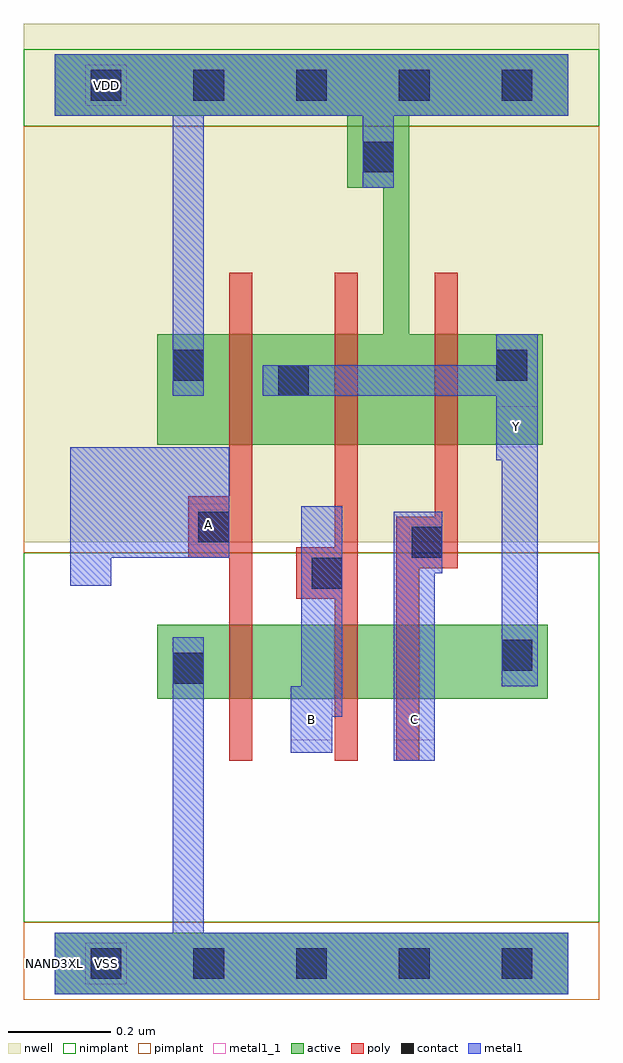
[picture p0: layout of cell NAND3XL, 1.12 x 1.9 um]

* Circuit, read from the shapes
.subckt NAND3XL A B C VDD VSS Y
M1 n1 A VSS VSS nfet w=0.145u l=0.045u
M2 n2 B n1 VSS nfet w=0.145u l=0.045u
M3 Y C n2 VSS nfet w=0.145u l=0.045u
M4 Y A VDD VDD pfet w=0.215u l=0.045u
M5 VDD B Y VDD pfet w=0.215u l=0.045u
M6 Y C VDD VDD pfet w=0.215u l=0.045u
.ends

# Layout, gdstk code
import gdstk
lib = gdstk.Library(unit=1e-6, precision=5e-10)
def R(c, l, rs):  # rectangles x0, y0, x1, y1
    for r in rs: c.add(gdstk.rectangle(r[:2], r[2:], *l))
def A(c, l, x, y, w, h, nx, ny, dx, dy):  # array of equal rectangles
    R(c, l, [(x+i*dx, y+j*dy, x+i*dx+w, y+j*dy+h) for i in range(nx) for j in range(ny)])
def P(c, l, *ps):  # polygons
    for p in ps: c.add(gdstk.Polygon(p, *l))
active = (1, 0)
nwell = (2, 0)
poly = (3, 0)
nimplant = (4, 0)
pimplant = (5, 0)
contact = (6, 0)
metal1 = (7, 0)
metal1_1 = (7, 1)

nand3xl = lib.new_cell('NAND3XL')
R(nand3xl, active, [(0,-0.06,1,0.06), (0.2,0.515,0.96,0.66)])
P(nand3xl, active, [(0,1.77),(1,1.77),(1,1.65),(0.69,1.65),(0.69,1.225),(0.95,1.225),(0.95,1.01),(0.2,1.01),(0.2,1.225),(0.64,1.225),(0.64,1.51),(0.57,1.51),(0.57,1.65),(0,1.65)])
R(nand3xl, nwell, [(-0.06,0.82,1.06,1.83)])
P(nand3xl, poly, [(0.34,1.345),(0.385,1.345),(0.385,0.395),(0.34,0.395),(0.34,0.79),(0.26,0.79),(0.26,0.91),(0.34,0.91)],
  [(0.545,1.345),(0.59,1.345),(0.59,0.395),(0.545,0.395),(0.545,0.71),(0.47,0.71),(0.47,0.81),(0.545,0.81)],
  [(0.74,1.345),(0.785,1.345),(0.785,0.77),(0.71,0.77),(0.71,0.395),(0.665,0.395),(0.665,0.87),(0.74,0.87)])
R(nand3xl, nimplant, [(-0.06,0.08,1.06,0.8), (-0.06,1.63,1.06,1.78)])
R(nand3xl, pimplant, [(-0.06,-0.07,1.06,0.08), (-0.06,0.8,1.06,1.63)])
A(nand3xl, contact, 0.07, -0.03, 0.06, 0.06, 5, 2, 0.2, 1.71)
R(nand3xl, contact, [(0.23,0.545,0.29,0.605), (0.87,0.57,0.93,0.63), (0.5,0.73,0.56,0.79), (0.695,0.79,0.755,0.85), (0.28,0.82,0.34,0.88), (0.435,1.105,0.495,1.165), (0.23,1.135,0.29,1.195), (0.86,1.135,0.92,1.195), (0.6,1.54,0.66,1.6)])
P(nand3xl, metal1, [(0.66,0.88),(0.755,0.88),(0.755,0.76),(0.74,0.76),(0.74,0.395),(0.66,0.395)],
  [(0.23,0.635),(0.29,0.635),(0.29,0.06),(1,0.06),(1,-0.06),(0,-0.06),(0,0.06),(0.23,0.06)],
  [(0,1.77),(1,1.77),(1,1.65),(0.66,1.65),(0.66,1.51),(0.6,1.51),(0.6,1.65),(0.29,1.65),(0.29,1.105),(0.23,1.105),(0.23,1.65),(0,1.65)],
  [(0.86,1.225),(0.94,1.225),(0.94,0.54),(0.87,0.54),(0.87,0.98),(0.86,0.98),(0.86,1.105),(0.405,1.105),(0.405,1.165),(0.86,1.165)],
  [(0.03,1.005),(0.34,1.005),(0.34,0.79),(0.11,0.79),(0.11,0.735),(0.03,0.735)],
  [(0.48,0.89),(0.56,0.89),(0.56,0.48),(0.54,0.48),(0.54,0.41),(0.46,0.41),(0.46,0.54),(0.48,0.54)])
R(nand3xl, metal1_1, [(0.06,-0.04,0.14,0.04), (0.46,0.435,0.54,0.515), (0.66,0.435,0.74,0.515), (0.26,0.815,0.34,0.895), (0.86,1.005,0.94,1.085), (0.06,1.67,0.14,1.75)])
nand3xl.add(gdstk.Label('Y', (0.9,1.045), layer=7, texttype=1))
nand3xl.add(gdstk.Label('C', (0.7,0.475), layer=7, texttype=1))
nand3xl.add(gdstk.Label('A', (0.3,0.855), layer=7, texttype=1))
nand3xl.add(gdstk.Label('B', (0.5,0.475), layer=7, texttype=1))
nand3xl.add(gdstk.Label('VDD', (0.1,1.71), layer=7, texttype=1))
nand3xl.add(gdstk.Label('VSS', (0.1,0), layer=7, texttype=1))
nand3xl.add(gdstk.Label('NAND3XL', (0,0), layer=63, texttype=0))

lib.write_gds('NAND3XL.gds')
